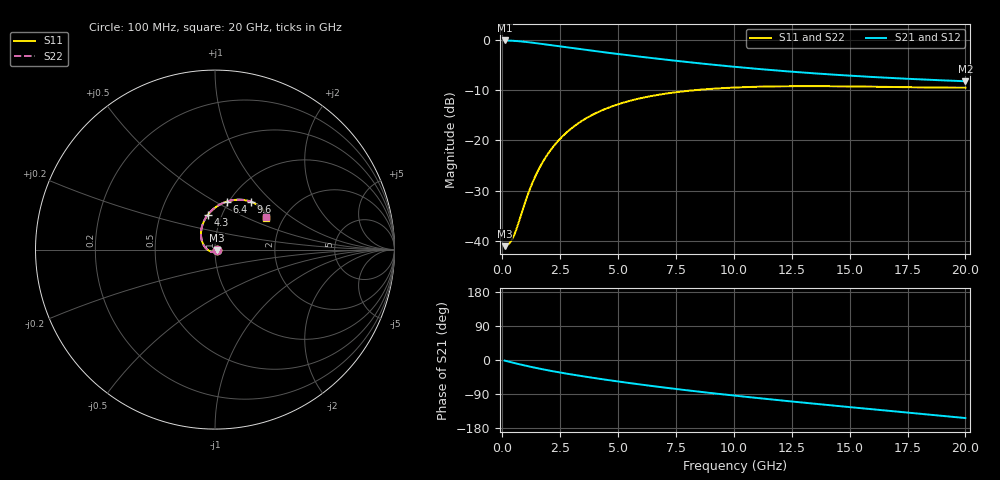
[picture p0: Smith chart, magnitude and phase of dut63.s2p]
! Touchstone file exported from HFSS 2024.1.0
!  File:  C:/UserFiles/LocalFiles/RDL_TSV_Batchsim/temp_RDL_TSV_63_1779409833.aedt
!  Generated:  08:46:43 AM May 22, 2026
!  Design:  RDL_TSV
!  Project:  temp_RDL_TSV_63_1779409833
!  Setup:  Setup1
!  Solution:  Sweep
! Variables:
!  dtsv = 10.2um
!  hbump = 3um
!  htsv = 98.75um
!  ldown = 246.81um
!  lrdl = 245.19um
!  p = 40
!  p1 = 59.09um
!  rhole = 10um
!  subl = 1721.19um
!  t = 450um
!  tdown = 4.91um
!  trdl = 4.67um
!  viad = 10um
!  wdown = 24.44um
!  wrdl = 13.18um
!  xbump = 18um
# GHz S MA R 50.000000
! Terminal data exported
! Port[1] = TM1_1_T1
! Port[2] = TM1_4_T1
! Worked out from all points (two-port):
!   200 points, 100 MHz to 20 GHz, reference 50 ohm
!   highest |S21| = -0.08 dB at 100 MHz (marker M1); lowest = -8.2 dB at 20 GHz (marker M2)
!   |S21| within 3 dB of the highest: start of sweep to 5.529 GHz
!   lowest |S11| = -41.1 dB at 100 MHz (marker M3), VSWR 1.02, Z = 50.9 - j0.243 ohm
!   |S11| at or under -10 dB: start of sweep to 8.282 GHz
!   |S22| runs from -41.1 to -9.2 dB; largest |S21 - S12| = 2.3e-14
!   S11 on the Smith chart (normalised r, x): 100 MHz: 1.02, -0.00; 4.3 GHz: 0.86, +0.35; 6.4 GHz: 0.98, +0.57; 9.6 GHz: 1.25, +0.75; 20 GHz: 1.63, +0.65
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0.1  0.008844 -15.7  0.9907 -1.6  0.9907 -1.6  0.008844 -15.7
! Gamma 0 0 0 0
! Port Impedance 50 0 50 0
0.3  0.009416 -50.1  0.9874 -4.7  0.9874 -4.7  0.009412 -50.1
0.4  0.01009 -68.6  0.9848 -6.2  0.9848 -6.2  0.01008 -68.6
0.5  0.01119 -86.8  0.9817 -7.7  0.9817 -7.7  0.01119 -86.8
1.2  0.03308 -167.4  0.9474 -17.6  0.9474 -17.6  0.03314 -167.5
1.5  0.04767 175.0  0.9286 -21.5  0.9286 -21.5  0.04776 174.9
1.8  0.06385 161.4  0.9088 -25.2  0.9088 -25.2  0.06398 161.3
2.2  0.08668 146.9  0.8824 -29.8  0.8824 -29.8  0.08688 146.9
2.6  0.1099 135.2  0.8567 -34.2  0.8567 -34.2  0.1102 135.1
3  0.1327 125.3  0.8322 -38.3  0.8322 -38.3  0.133 125.3
3.5  0.1599 114.8  0.8032 -43.2  0.8032 -43.2  0.1603 114.8
4.3  0.1993 101.1  0.7603 -50.6  0.7603 -50.6  0.1998 101.1
5.3  0.2405 87.6  0.7118 -59.2  0.7118 -59.2  0.2411 87.6
6.4  0.2759 76.0  0.664 -68.1  0.664 -68.1  0.2767 76.0
6.8  0.2865 72.3  0.6479 -71.2  0.6479 -71.2  0.2872 72.4
8.2  0.3149 61.6  0.5968 -81.5  0.5968 -81.5  0.3158 61.7
9.6  0.3327 53.3  0.5533 -91.1  0.5533 -91.1  0.3337 53.4
10.1  0.3371 50.8  0.5395 -94.4  0.5395 -94.4  0.338 50.9
11.7  0.3453 44.2  0.5007 -104.6  0.5007 -104.6  0.3464 44.2
13.4  0.3473 39.0  0.4673 -114.9  0.4673 -114.9  0.3484 39.0
16.7  0.3412 33.3  0.4201 -134.2  0.4201 -134.2  0.3423 33.4
20  0.3349 32.2  0.3885 -153.2  0.3885 -153.2  0.336 32.2
